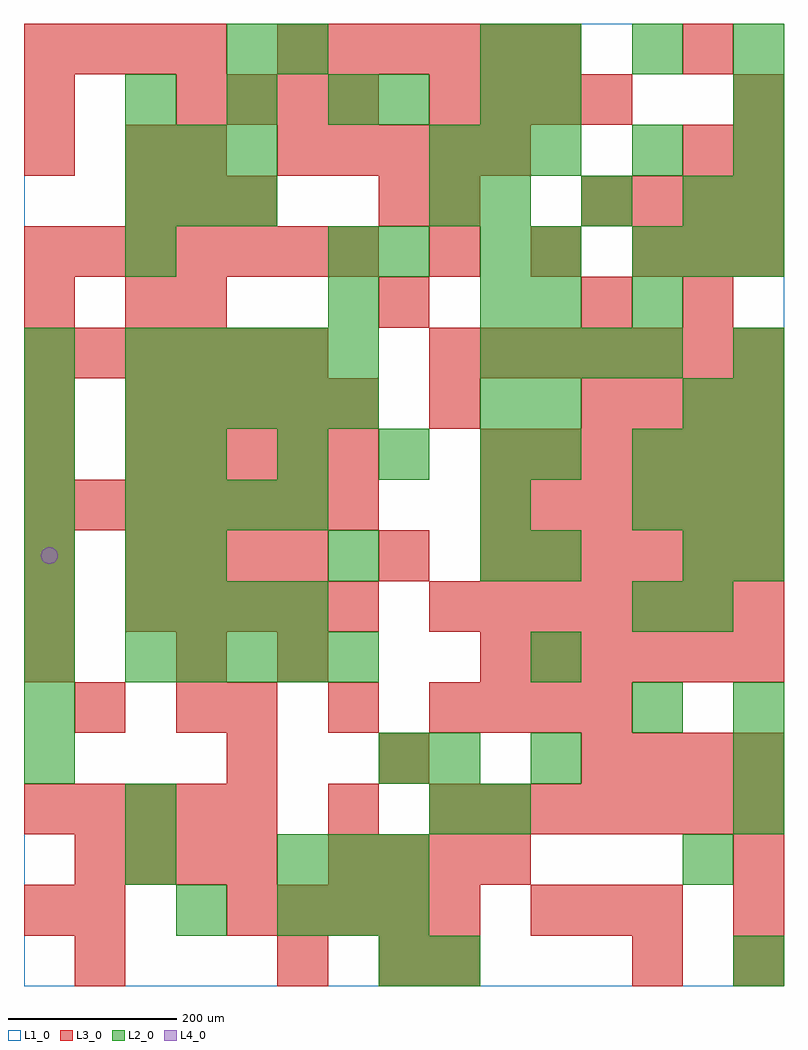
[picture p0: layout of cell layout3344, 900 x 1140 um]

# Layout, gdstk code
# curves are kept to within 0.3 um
import gdstk
lib = gdstk.Library(unit=1e-6, precision=1e-09)
def R(c, l, rs):  # rectangles x0, y0, x1, y1
    for r in rs: c.add(gdstk.rectangle(r[:2], r[2:], *l))
def A(c, l, x, y, w, h, nx, ny, dx, dy):  # array of equal rectangles
    R(c, l, [(x+i*dx, y+j*dy, x+i*dx+w, y+j*dy+h) for i in range(nx) for j in range(ny)])
def P(c, l, *ps):  # polygons
    for p in ps: c.add(gdstk.Polygon(p, *l))
L1_0 = (1, 0)
L2_0 = (2, 0)
L3_0 = (3, 0)
L4_0 = (4, 0)

layout3344 = lib.new_cell('layout3344')
R(layout3344, L1_0, [(0,0,900,1140)])
A(layout3344, L2_0, 300, 60, 60, 60, 3, 2, 60, 60)
A(layout3344, L2_0, 840, 180, 60, 60, 1, 3, 0, 60)
A(layout3344, L2_0, 0, 240, 60, 60, 1, 9, 0, 60)
A(layout3344, L2_0, 600, 240, 60, 60, 1, 4, 0, 120)
A(layout3344, L2_0, 120, 360, 60, 60, 5, 2, 60, 300)
A(layout3344, L2_0, 120, 420, 60, 60, 4, 2, 60, 120)
A(layout3344, L2_0, 180, 480, 60, 60, 3, 1, 180, 0)
A(layout3344, L2_0, 540, 540, 60, 60, 1, 3, 0, 120)
A(layout3344, L2_0, 720, 540, 60, 60, 3, 2, 60, 60)
A(layout3344, L2_0, 180, 600, 60, 60, 4, 1, 120, 0)
A(layout3344, L2_0, 120, 720, 60, 60, 5, 1, 60, 0)
A(layout3344, L2_0, 540, 720, 60, 60, 4, 1, 60, 0)
A(layout3344, L2_0, 720, 840, 60, 60, 3, 1, 60, 0)
A(layout3344, L2_0, 120, 900, 60, 60, 3, 2, 60, 60)
A(layout3344, L2_0, 540, 900, 60, 60, 3, 1, 120, 0)
A(layout3344, L2_0, 840, 900, 60, 60, 1, 3, 0, 60)
A(layout3344, L2_0, 480, 960, 60, 60, 3, 1, 60, 0)
A(layout3344, L2_0, 120, 1020, 60, 60, 3, 1, 120, 0)
A(layout3344, L2_0, 600, 1080, 60, 60, 3, 1, 120, 0)
R(layout3344, L2_0, [(420,0,480,60), (480,0,540,60), (840,0,900,60), (180,60,240,120), (120,120,180,180), (780,120,840,180), (120,180,180,240), (480,180,540,240), (540,180,600,240), (420,240,480,300), (480,240,540,300), (720,300,780,360), (720,420,780,480), (780,420,840,480), (120,480,180,540), (780,480,840,540), (840,480,900,540), (120,600,180,660), (600,660,660,720), (780,660,840,720), (840,660,900,720), (840,720,900,780), (360,780,420,840), (600,780,660,840), (720,780,780,840), (120,840,180,900), (360,840,420,900), (420,840,480,900), (540,840,600,900), (600,840,660,900), (480,900,540,960), (720,960,780,1020), (420,1020,480,1080), (540,1020,600,1080), (600,1020,660,1080), (240,1080,300,1140), (300,1080,360,1140), (540,1080,600,1140)])
A(layout3344, L3_0, 420, 0, 60, 60, 1, 3, 0, 240)
A(layout3344, L3_0, 840, 0, 60, 60, 1, 3, 0, 60)
A(layout3344, L3_0, 240, 60, 60, 60, 5, 1, 60, 0)
A(layout3344, L3_0, 600, 60, 60, 60, 3, 1, 60, 0)
A(layout3344, L3_0, 60, 120, 60, 60, 4, 1, 60, 0)
A(layout3344, L3_0, 360, 120, 60, 60, 4, 1, 60, 0)
A(layout3344, L3_0, 0, 180, 60, 60, 5, 1, 60, 0)
A(layout3344, L3_0, 480, 180, 60, 60, 7, 2, 60, 240)
A(layout3344, L3_0, 660, 240, 60, 60, 4, 2, 60, 420)
A(layout3344, L3_0, 240, 300, 60, 60, 3, 1, 120, 0)
A(layout3344, L3_0, 540, 300, 60, 60, 3, 1, 60, 0)
A(layout3344, L3_0, 0, 360, 60, 60, 1, 3, 0, 60)
A(layout3344, L3_0, 540, 360, 60, 60, 6, 2, 60, 120)
A(layout3344, L3_0, 120, 420, 60, 60, 5, 2, 60, 180)
A(layout3344, L3_0, 120, 480, 60, 60, 4, 1, 60, 0)
A(layout3344, L3_0, 0, 540, 60, 60, 7, 2, 60, 300)
A(layout3344, L3_0, 540, 540, 60, 60, 6, 2, 60, 60)
A(layout3344, L3_0, 120, 660, 60, 60, 5, 1, 60, 0)
A(layout3344, L3_0, 0, 720, 60, 60, 6, 1, 60, 0)
A(layout3344, L3_0, 480, 720, 60, 60, 7, 1, 60, 0)
A(layout3344, L3_0, 180, 780, 60, 60, 3, 1, 240, 0)
A(layout3344, L3_0, 480, 840, 60, 60, 3, 1, 120, 0)
A(layout3344, L3_0, 780, 840, 60, 60, 1, 3, 0, 120)
A(layout3344, L3_0, 120, 900, 60, 60, 3, 1, 60, 0)
A(layout3344, L3_0, 660, 900, 60, 60, 4, 1, 60, 0)
A(layout3344, L3_0, 300, 960, 60, 60, 5, 1, 60, 0)
A(layout3344, L3_0, 180, 1020, 60, 60, 4, 1, 60, 0)
A(layout3344, L3_0, 480, 1020, 60, 60, 4, 1, 60, 0)
A(layout3344, L3_0, 0, 1080, 60, 60, 4, 1, 60, 0)
A(layout3344, L3_0, 300, 1080, 60, 60, 6, 1, 60, 0)
R(layout3344, L3_0, [(60,0,120,60), (300,0,360,60), (480,0,540,60), (720,0,780,60), (0,60,60,120), (60,60,120,120), (360,180,420,240), (240,240,300,300), (60,300,120,360), (180,300,240,360), (180,360,240,420), (300,360,360,420), (0,600,60,660), (0,660,60,720), (480,660,540,720), (0,780,60,840), (120,780,180,840), (780,780,840,840), (840,840,900,900), (420,900,480,960), (480,900,540,960), (0,960,60,1020), (120,960,180,1020), (180,960,240,1020), (840,960,900,1020), (0,1020,60,1080), (840,1020,900,1080)])
P(layout3344, L4_0, [(40,510),(39.239,513.827),(37.071,517.071),(33.827,519.239),(30,520),(26.173,519.239),(22.929,517.071),(20.761,513.827),(20,510),(20.761,506.173),(22.929,502.929),(26.173,500.761),(30,500),(33.827,500.761),(37.071,502.929),(39.239,506.173)])

lib.write_gds('layout3344.gds')
